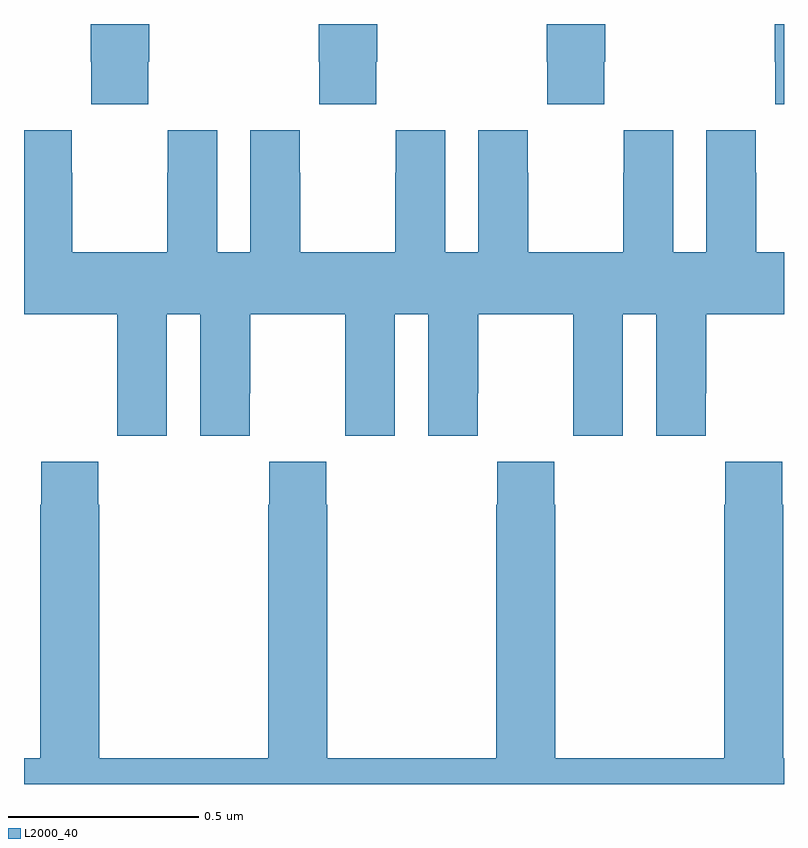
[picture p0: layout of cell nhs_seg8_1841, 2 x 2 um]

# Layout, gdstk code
import gdstk
lib = gdstk.Library(unit=1e-6, precision=1e-09)
def P(c, l, *ps):  # polygons
    for p in ps: c.add(gdstk.Polygon(p, *l))
L2000_40 = (2000, 40)

nhs_seg8_1841 = lib.new_cell('nhs_seg8_1841')
P(nhs_seg8_1841, L2000_40, [(135.927,1147.801),(135.93,1147.801),(135.93,1147.9),(135.775,1147.9),(135.775,1147.801),(135.777,1147.801),(135.777,1147.689),(135.927,1147.689)],
  [(136.527,1147.801),(136.53,1147.801),(136.53,1147.9),(136.375,1147.9),(136.375,1147.801),(136.377,1147.801),(136.377,1147.689),(136.527,1147.689)],
  [(137,1147.9),(136.975,1147.9),(136.975,1147.801),(136.977,1147.801),(136.977,1147.689),(137,1147.689)],
  [(135.327,1147.801),(135.33,1147.801),(135.33,1147.9),(135.175,1147.9),(135.175,1147.801),(135.177,1147.801),(135.177,1147.689),(135.327,1147.689)],
  [(135.376,1147.136),(135.464,1147.136),(135.464,1146.816),(135.594,1146.816),(135.594,1146.928),(135.595,1146.928),(135.595,1147.136),(135.845,1147.136),(135.845,1146.928),(135.846,1146.928),(135.846,1146.816),(135.976,1146.816),(135.976,1147.136),(136.064,1147.136),(136.064,1146.816),(136.194,1146.816),(136.194,1146.928),(136.195,1146.928),(136.195,1147.136),(136.445,1147.136),(136.445,1146.928),(136.446,1146.928),(136.446,1146.816),(136.576,1146.816),(136.576,1147.136),(136.664,1147.136),(136.664,1146.816),(136.794,1146.816),(136.794,1146.928),(136.795,1146.928),(136.795,1147.136),(137,1147.136),(137,1147.3),(136.927,1147.3),(136.927,1147.508),(136.926,1147.508),(136.926,1147.621),(136.796,1147.621),(136.796,1147.3),(136.708,1147.3),(136.708,1147.621),(136.578,1147.621),(136.578,1147.508),(136.577,1147.508),(136.577,1147.3),(136.327,1147.3),(136.327,1147.508),(136.326,1147.508),(136.326,1147.621),(136.196,1147.621),(136.196,1147.3),(136.108,1147.3),(136.108,1147.621),(135.978,1147.621),(135.978,1147.508),(135.977,1147.508),(135.977,1147.3),(135.727,1147.3),(135.727,1147.508),(135.726,1147.508),(135.726,1147.621),(135.596,1147.621),(135.596,1147.3),(135.508,1147.3),(135.508,1147.621),(135.378,1147.621),(135.378,1147.508),(135.377,1147.508),(135.377,1147.3),(135.127,1147.3),(135.127,1147.508),(135.126,1147.508),(135.126,1147.621),(135,1147.621),(135,1147.136),(135.245,1147.136),(135.245,1146.928),(135.246,1146.928),(135.246,1146.816),(135.376,1146.816)],
  [(135.045,1146.635),(135.043,1146.635),(135.043,1145.968),(135,1145.968),(135,1145.9),(137,1145.9),(137,1145.968),(136.998,1145.968),(136.998,1146.635),(136.995,1146.635),(136.995,1146.748),(136.845,1146.748),(136.845,1146.635),(136.843,1146.635),(136.843,1145.968),(136.398,1145.968),(136.398,1146.635),(136.395,1146.635),(136.395,1146.748),(136.245,1146.748),(136.245,1146.635),(136.243,1146.635),(136.243,1145.968),(135.798,1145.968),(135.798,1146.635),(135.795,1146.635),(135.795,1146.748),(135.645,1146.748),(135.645,1146.635),(135.643,1146.635),(135.643,1145.968),(135.198,1145.968),(135.198,1146.635),(135.195,1146.635),(135.195,1146.748),(135.045,1146.748)])

lib.write_gds('nhs_seg8_1841.gds')
